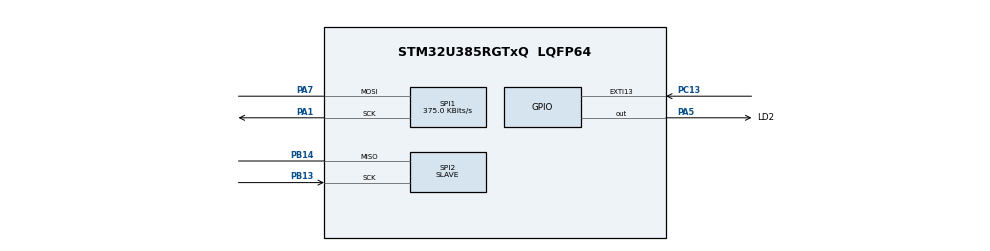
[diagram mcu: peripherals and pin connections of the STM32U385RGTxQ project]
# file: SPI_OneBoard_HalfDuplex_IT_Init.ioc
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CORTEX_M33_NS.userName=CORTEX_M33
Mcu.Family=STM32U3
Mcu.Name=STM32U385RGTxQ
Mcu.Package=LQFP64
NVIC.EXTI13_IRQn=true\:0\:0\:false\:false\:true\:true\:true\:true
NVIC.PriorityGroup=NVIC_PRIORITYGROUP_4
NVIC.SPI1_IRQn=true\:1\:0\:false\:false\:true\:true\:true\:true
NVIC.SPI2_IRQn=true\:1\:0\:false\:false\:true\:true\:true\:true
PA1.GPIO_PuPd=GPIO_PULLDOWN
PA1.GPIO_Speed=GPIO_SPEED_FREQ_HIGH
PA1.Mode=Simplex_Bidirectional_Master
PA1.Signal=SPI1_SCK
PA5.GPIO_Label=LD2
PA5.Signal=GPIO_Output
PA7.GPIO_PuPd=GPIO_PULLUP
PA7.GPIO_Speed=GPIO_SPEED_FREQ_HIGH
PA7.Mode=Simplex_Bidirectional_Master
PA7.Signal=SPI1_MOSI
PB13.GPIO_PuPd=GPIO_PULLDOWN
PB13.GPIO_Speed=GPIO_SPEED_FREQ_HIGH
PB13.Mode=Simplex_Bidirectional_Slave
PB13.Signal=SPI2_SCK
PB14.GPIO_PuPd=GPIO_PULLUP
PB14.GPIO_Speed=GPIO_SPEED_FREQ_HIGH
PB14.Mode=Simplex_Bidirectional_Slave
PB14.Signal=SPI2_MISO
PC13.GPIO_ModeDefaultEXTI=GPIO_MODE_IT_RISING
PC13.Signal=GPXTI13
ProjectManager.HeapSize=0x200
ProjectManager.StackSize=0x400
ProjectManager.TargetToolchain=EWARM V9.20
RCC.ADCFreq_Value=96000000
RCC.AHBFreq_Value=96000000
RCC.APB1Freq_Value=96000000
RCC.APB1TimFreq_Value=96000000
RCC.APB2Freq_Value=96000000
RCC.APB2TimFreq_Value=96000000
RCC.APB3Freq_Value=96000000
RCC.CortexFreq_Value=12000000
RCC.HCLKFreq_Value=96000000
RCC.HSE_VALUE=16000000
RCC.HSI48_VALUE=48000000
RCC.HSI_VALUE=16000000
RCC.LSE_VALUE=32768
RCC.LSIDIV_VALUE=32000
RCC.MSISDIV=RCC_MSI_DIV1
RCC.MSI_VALUE=96000000
RCC.PWR_Regulator_Voltage_Scale=PWR_REGULATOR_VOLTAGE_SCALE1
RCC.SYSCLKFreq_VALUE=96000000
RCC.USBFreq_Value=96000000
SPI1.BaudRatePrescaler=SPI_BAUDRATEPRESCALER_256
SPI1.CLKPhase=SPI_PHASE_2EDGE
SPI1.CLKPolarity=SPI_POLARITY_HIGH
SPI1.CRCCalculation=SPI_CRCCALCULATION_DISABLE
SPI1.CalculateBaudRate=375.0 KBits/s
SPI1.DataSize=SPI_DATASIZE_8BIT
SPI1.Direction=SPI_DIRECTION_1LINE
SPI1.FifoThreshold=SPI_FIFO_THRESHOLD_05DATA
SPI1.FirstBit=SPI_FIRSTBIT_MSB
SPI1.Mode=SPI_MODE_MASTER
SPI1.NSS=SPI_NSS_SOFT
SPI1.TIMode=SPI_TIMODE_DISABLE
SPI1.VirtualType=VM_MASTER
SPI2.CLKPhase=SPI_PHASE_2EDGE
SPI2.CLKPolarity=SPI_POLARITY_HIGH
SPI2.CRCCalculation=SPI_CRCCALCULATION_DISABLE
SPI2.DataSize=SPI_DATASIZE_8BIT
SPI2.Direction=SPI_DIRECTION_1LINE
SPI2.FifoThreshold=SPI_FIFO_THRESHOLD_05DATA
SPI2.FirstBit=SPI_FIRSTBIT_MSB
SPI2.Mode=SPI_MODE_SLAVE
SPI2.NSS=SPI_NSS_SOFT
SPI2.TIMode=SPI_TIMODE_DISABLE
SPI2.VirtualType=VM_SLAVE
VP_ICACHE_VS_ICACHE.Mode=DirectMappedCache
VP_PWR_VS_DBSignals.Mode=DisableDeadBatterySignals
VP_PWR_VS_LPOM.Mode=PowerOptimisation
VP_PWR_VS_SECSignals.Mode=Security/Privilege
board=custom

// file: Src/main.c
/* USER CODE BEGIN Header */
/**
  ******************************************************************************
  * @file    Examples_LL/SPI/SPI_OneBoard_HalfDuplex_IT_Init/Src/main.c
  * @author  MCD Application Team
  * @brief   This example describes how to send/receive bytes over SPI IP using
  *          the STM32U3xx SPI LL API.
  *          Peripheral initialization done using LL unitary services functions.
  ******************************************************************************
  * @attention
  *
  * Copyright (c) 2024 STMicroelectronics.
  * All rights reserved.
  *
  * This software is licensed under terms that can be found in the LICENSE file
  * in the root directory of this software component.
  * If no LICENSE file comes with this software, it is provided AS-IS.
  *
  ******************************************************************************
  */
/* USER CODE END Header */
#include "main.h"

/* USER CODE BEGIN PV */

__IO uint8_t ubButtonPress = 0;

/* Buffer used for transmission */
uint8_t aTxBuffer[] = "**** SPI_OneBoard_HalfDuplex_IT_Init communication **** SPI_OneBoard_HalfDuplex_IT_Init communication **** SPI_OneBoard_HalfDuplex_IT_Init communication ****";

uint8_t ubNbDataToTransmit = sizeof(aTxBuffer);
__IO uint8_t ubTransmitIndex = 0;

/* Buffer used for reception */
uint8_t aRxBuffer[sizeof(aTxBuffer)];
uint8_t ubNbDataToReceive = sizeof(aTxBuffer);
__IO uint8_t ubReceiveIndex = 0;

/* USER CODE END PV */

void SystemClock_Config(void);
static void MX_GPIO_Init(void);
static void MX_ICACHE_Init(void);
static void MX_SPI1_Init(void);
static void MX_SPI2_Init(void);
/* USER CODE BEGIN PFP */
void     Activate_SPI1(void);
void     Activate_SPI2(void);
void     LED_On(void);
void     LED_Blinking(uint32_t Period);
void     LED_Off(void);
void     WaitForUserButtonPress(void);
void     WaitAndCheckEndOfTransfer(void);
uint8_t  Buffercmp8(uint8_t *pBuffer1, uint8_t *pBuffer2, uint8_t BufferLength);

/* USER CODE END PFP */

int main(void)
{

  /* MCU Configuration--------------------------------------------------------*/

  /* Reset of all peripherals, Initializes the Flash interface and the Systick. */

  /* System interrupt init*/
  NVIC_SetPriorityGrouping(NVIC_PRIORITYGROUP_4);

  /* Configure the system clock */
  SystemClock_Config();

  /* Initialize all configured peripherals */
  MX_GPIO_Init();
  MX_ICACHE_Init();
  MX_SPI1_Init();
  MX_SPI2_Init();
  /* USER CODE BEGIN 2 */
  /* Configure the SPI2 FIFO Threshold */
  LL_SPI_SetFIFOThreshold(SPI1,LL_SPI_FIFO_TH_16DATA);

  /* Configure SPI1 transfer interrupts */
  /* Enable TXP   Interrupt */
  LL_SPI_EnableIT_TXP(SPI1);
  /* Enable SPI1 Error Interrupt */
  LL_SPI_EnableIT_CRCERR(SPI1);

  /* Configure SPI2 transfer interrupts */
  /* Enable RXP  Interrupt */
  LL_SPI_EnableIT_RXP(SPI2);
  /* Enable SPI2 Error Interrupt */
  LL_SPI_EnableIT_CRCERR(SPI2);

  /* Enable the SPI1 peripheral */
  Activate_SPI1();

  /* Enable the SPI2 peripheral */
  Activate_SPI2();

  /* Wait for User push-button press to start transfer */
  WaitForUserButtonPress();

  /* Start Master transfer */
  LL_SPI_StartMasterTransfer(SPI1);

  /* Wait for the end of the transfer and check received data */
  /* LED blinking FAST during waiting time */
  WaitAndCheckEndOfTransfer();

  /* USER CODE END 2 */

  /* Infinite loop */
  while (1)
  {

  }
}

void SystemClock_Config(void)
{
  /** Enable Epod Booster
  */
  LL_AHB1_GRP2_EnableClock(LL_AHB1_GRP2_PERIPH_PWR);
  LL_RCC_SetEPODBoosterClkSource(LL_RCC_EPODBOOSTCLKSRCE_MSIS);
  LL_RCC_SetEPODBoosterClkPrescaler(LL_RCC_EPODBOOSTCLKPRESCAL_1);
  LL_PWR_EnableEPODBooster();
  while(LL_PWR_IsActiveFlag_BOOST() != 1U)
  {
  }

  /** Configure the main internal regulator output voltage
  */
  LL_PWR_SetRegulVoltageScaling(LL_PWR_REGU_VOLTAGE_SCALE1);
  while(LL_PWR_GetRegulCurrentVOS() != LL_PWR_REGU_VOLTAGE_SCALE1)
  {
  }

  /** Set Flash latency before switching to MSIS
  */
  LL_FLASH_SetLatency(LL_FLASH_LATENCY_2);
  while(LL_FLASH_GetLatency() != LL_FLASH_LATENCY_2)
  {
  }

  /** Activate MSIS as source
  */
  LL_RCC_MSIS_SetClockSource(LL_RCC_MSIS_CLOCK_SOURCE_RC0);
  LL_RCC_MSIS_SetClockDivision(LL_RCC_MSIS_CLOCK_SOURCE_RC_DIV_1);
  LL_RCC_MSI_SetMSIxClockRange();
  LL_RCC_SetSysClkSource(LL_RCC_SYS_CLKSOURCE_MSIS);

  /** Wait till System clock is ready
  */
  while(LL_RCC_GetSysClkSource() != LL_RCC_SYS_CLKSOURCE_MSIS)
  {
  }

  LL_RCC_SetAHBPrescaler(LL_RCC_HCLK_SYSCLK_DIV_1);
  LL_RCC_SetAPB1Prescaler(LL_RCC_APB1_HCLK_DIV_1);
  LL_RCC_SetAPB2Prescaler(LL_RCC_APB2_HCLK_DIV_1);
  LL_RCC_SetAPB3Prescaler(LL_RCC_APB3_HCLK_DIV_1);

  LL_Init1msTick(96000000);

  LL_SetSystemCoreClock(96000000);
}

static void MX_ICACHE_Init(void)
{

  /** Enable instruction cache in 1-way (direct mapped cache)
  */
  LL_ICACHE_SetMode(LL_ICACHE_1WAY);
  LL_ICACHE_Enable();

}

static void MX_SPI1_Init(void)
{

  LL_SPI_InitTypeDef SPI_InitStruct = {0};

  LL_GPIO_InitTypeDef GPIO_InitStruct = {0};

  LL_RCC_SetSPIClockSource(LL_RCC_SPI1_CLKSOURCE_PCLK2);

  /* Peripheral clock enable */
  LL_APB2_GRP1_EnableClock(LL_APB2_GRP1_PERIPH_SPI1);

  LL_AHB2_GRP1_EnableClock(LL_AHB2_GRP1_PERIPH_GPIOA);
  /**SPI1 GPIO Configuration
  PA1   ------> SPI1_SCK
  PA7   ------> SPI1_MOSI
  */
  GPIO_InitStruct.Pin = LL_GPIO_PIN_1;
  GPIO_InitStruct.Mode = LL_GPIO_MODE_ALTERNATE;
  GPIO_InitStruct.Speed = LL_GPIO_SPEED_FREQ_HIGH;
  GPIO_InitStruct.OutputType = LL_GPIO_OUTPUT_PUSHPULL;
  GPIO_InitStruct.Pull = LL_GPIO_PULL_DOWN;
  GPIO_InitStruct.Alternate = LL_GPIO_AF_5;
  LL_GPIO_Init(GPIOA, &GPIO_InitStruct);

  GPIO_InitStruct.Pin = LL_GPIO_PIN_7;
  GPIO_InitStruct.Mode = LL_GPIO_MODE_ALTERNATE;
  GPIO_InitStruct.Speed = LL_GPIO_SPEED_FREQ_HIGH;
  GPIO_InitStruct.OutputType = LL_GPIO_OUTPUT_PUSHPULL;
  GPIO_InitStruct.Pull = LL_GPIO_PULL_UP;
  GPIO_InitStruct.Alternate = LL_GPIO_AF_5;
  LL_GPIO_Init(GPIOA, &GPIO_InitStruct);

  /* SPI1 interrupt Init */
  NVIC_SetPriority(SPI1_IRQn, NVIC_EncodePriority(NVIC_GetPriorityGrouping(),1, 0));
  NVIC_EnableIRQ(SPI1_IRQn);

  /* SPI1 parameter configuration*/
  SPI_InitStruct.TransferDirection = LL_SPI_HALF_DUPLEX_TX;
  SPI_InitStruct.Mode = LL_SPI_MODE_MASTER;
  SPI_InitStruct.DataWidth = LL_SPI_DATAWIDTH_8BIT;
  SPI_InitStruct.ClockPolarity = LL_SPI_POLARITY_HIGH;
  SPI_InitStruct.ClockPhase = LL_SPI_PHASE_2EDGE;
  SPI_InitStruct.NSS = LL_SPI_NSS_SOFT;
  SPI_InitStruct.BaudRate = LL_SPI_BAUDRATEPRESCALER_DIV256;
  SPI_InitStruct.BitOrder = LL_SPI_MSB_FIRST;
  SPI_InitStruct.CRCCalculation = LL_SPI_CRCCALCULATION_DISABLE;
  SPI_InitStruct.CRCPoly = 0x7;
  LL_SPI_Init(SPI1, &SPI_InitStruct);
  LL_SPI_SetStandard(SPI1, LL_SPI_PROTOCOL_MOTOROLA);
  LL_SPI_DisableNSSPulseMgt(SPI1);

}

static void MX_SPI2_Init(void)
{

  LL_SPI_InitTypeDef SPI_InitStruct = {0};

  LL_GPIO_InitTypeDef GPIO_InitStruct = {0};

  LL_RCC_SetSPIClockSource(LL_RCC_SPI2_CLKSOURCE_PCLK1);

  /* Peripheral clock enable */
  LL_APB1_GRP1_EnableClock(LL_APB1_GRP1_PERIPH_SPI2);

  LL_AHB2_GRP1_EnableClock(LL_AHB2_GRP1_PERIPH_GPIOB);
  /**SPI2 GPIO Configuration
  PB13   ------> SPI2_SCK
  PB14   ------> SPI2_MISO
  */
  GPIO_InitStruct.Pin = LL_GPIO_PIN_13;
  GPIO_InitStruct.Mode = LL_GPIO_MODE_ALTERNATE;
  GPIO_InitStruct.Speed = LL_GPIO_SPEED_FREQ_HIGH;
  GPIO_InitStruct.OutputType = LL_GPIO_OUTPUT_PUSHPULL;
  GPIO_InitStruct.Pull = LL_GPIO_PULL_DOWN;
  GPIO_InitStruct.Alternate = LL_GPIO_AF_5;
  LL_GPIO_Init(GPIOB, &GPIO_InitStruct);

  GPIO_InitStruct.Pin = LL_GPIO_PIN_14;
  GPIO_InitStruct.Mode = LL_GPIO_MODE_ALTERNATE;
  GPIO_InitStruct.Speed = LL_GPIO_SPEED_FREQ_HIGH;
  GPIO_InitStruct.OutputType = LL_GPIO_OUTPUT_PUSHPULL;
  GPIO_InitStruct.Pull = LL_GPIO_PULL_UP;
  GPIO_InitStruct.Alternate = LL_GPIO_AF_5;
  LL_GPIO_Init(GPIOB, &GPIO_InitStruct);

  /* SPI2 interrupt Init */
  NVIC_SetPriority(SPI2_IRQn, NVIC_EncodePriority(NVIC_GetPriorityGrouping(),1, 0));
  NVIC_EnableIRQ(SPI2_IRQn);

  /* SPI2 parameter configuration*/
  SPI_InitStruct.TransferDirection = LL_SPI_HALF_DUPLEX_RX;
  SPI_InitStruct.Mode = LL_SPI_MODE_SLAVE;
  SPI_InitStruct.DataWidth = LL_SPI_DATAWIDTH_8BIT;
  SPI_InitStruct.ClockPolarity = LL_SPI_POLARITY_HIGH;
  SPI_InitStruct.ClockPhase = LL_SPI_PHASE_2EDGE;
  SPI_InitStruct.NSS = LL_SPI_NSS_SOFT;
  SPI_InitStruct.BitOrder = LL_SPI_MSB_FIRST;
  SPI_InitStruct.CRCCalculation = LL_SPI_CRCCALCULATION_DISABLE;
  SPI_InitStruct.CRCPoly = 0x7;
  LL_SPI_Init(SPI2, &SPI_InitStruct);
  LL_SPI_SetStandard(SPI2, LL_SPI_PROTOCOL_MOTOROLA);
  LL_SPI_DisableNSSPulseMgt(SPI2);

}

static void MX_GPIO_Init(void)
{
  LL_EXTI_InitTypeDef EXTI_InitStruct = {0};
  LL_GPIO_InitTypeDef GPIO_InitStruct = {0};

  /* GPIO Ports Clock Enable */
  LL_AHB2_GRP1_EnableClock(LL_AHB2_GRP1_PERIPH_GPIOC);
  LL_AHB2_GRP1_EnableClock(LL_AHB2_GRP1_PERIPH_GPIOA);
  LL_AHB2_GRP1_EnableClock(LL_AHB2_GRP1_PERIPH_GPIOB);

  /**/
  LL_GPIO_ResetOutputPin(LD2_GPIO_Port, LD2_Pin);

  /**/
  LL_EXTI_SetEXTISource(LL_EXTI_CONFIG_PORTC, LL_EXTI_CONFIG_LINE13);

  /**/
  EXTI_InitStruct.Line_0_31 = LL_EXTI_LINE_13;
  EXTI_InitStruct.LineCommand = ENABLE;
  EXTI_InitStruct.Mode = LL_EXTI_MODE_IT;
  EXTI_InitStruct.Trigger = LL_EXTI_TRIGGER_RISING;
  LL_EXTI_Init(&EXTI_InitStruct);

  /**/
  LL_GPIO_SetPinPull(GPIOC, LL_GPIO_PIN_13, LL_GPIO_PULL_NO);

  /**/
  LL_GPIO_SetPinMode(GPIOC, LL_GPIO_PIN_13, LL_GPIO_MODE_INPUT);

  /**/
  GPIO_InitStruct.Pin = LD2_Pin;
  GPIO_InitStruct.Mode = LL_GPIO_MODE_OUTPUT;
  GPIO_InitStruct.Speed = LL_GPIO_SPEED_FREQ_LOW;
  GPIO_InitStruct.OutputType = LL_GPIO_OUTPUT_PUSHPULL;
  GPIO_InitStruct.Pull = LL_GPIO_PULL_NO;
  LL_GPIO_Init(LD2_GPIO_Port, &GPIO_InitStruct);

  /* EXTI interrupt init*/
  NVIC_SetPriority(EXTI13_IRQn, NVIC_EncodePriority(NVIC_GetPriorityGrouping(),0, 0));
  NVIC_EnableIRQ(EXTI13_IRQn);

}

/* USER CODE BEGIN 4 */

/**
  * @brief  This function Activate SPI1
  * @param  None
  * @retval None
  */
void Activate_SPI1(void)
{
  /* Enable SPI1 */
  LL_SPI_Enable(SPI1);
}

/**
  * @brief  This function Activate SPI2
  * @param  None
  * @retval None
  */
void Activate_SPI2(void)
{
  /* Enable SPI2 */
  LL_SPI_Enable(SPI2);
}

/**
  * @brief  Turn-on LD2.
  * @param  None
  * @retval None
  */
void LED_On(void)
{
  /* Turn LD2 on */
  LL_GPIO_SetOutputPin(LD2_GPIO_Port, LD2_Pin);
}

/**
  * @brief  Turn-off LD2.
  * @param  None
  * @retval None
  */
void LED_Off(void)
{
  /* Turn LD2 off */
  LL_GPIO_ResetOutputPin(LD2_GPIO_Port, LD2_Pin);
}

/**
  * @brief  Set LD2 to Blinking mode for an infinite loop (toggle period based on value provided as input parameter).
  * @param  Period : Period of time (in ms) between each toggling of LED
  *   This parameter can be user defined values. Pre-defined values used in that example are :
  *     @arg LED_BLINK_FAST : Fast Blinking
  *     @arg LED_BLINK_SLOW : Slow Blinking
  *     @arg LED_BLINK_ERROR : Error specific Blinking
  * @retval None
  */
void LED_Blinking(uint32_t Period)
{
  /* Toggle LD2 in an infinite loop */
  while (1)
  {
    LL_GPIO_TogglePin(LD2_GPIO_Port, LD2_Pin);
    LL_mDelay(Period);
  }
}

/**
  * @brief  Wait for User push-button press to start transfer.
  * @param  None
  * @retval None
  */
/*  */
void WaitForUserButtonPress(void)
{
  while (ubButtonPress == 0)
  {
    LL_GPIO_TogglePin(LD2_GPIO_Port, LD2_Pin);
    LL_mDelay(LED_BLINK_FAST);
  }
  /* Ensure that LD2 is turned Off */
  LED_Off();
}

/**
  * @brief  Wait end of transfer and check if received Data are well.
  * @param  None
  * @retval None
  */
void WaitAndCheckEndOfTransfer(void)
{
  /* 1 - Wait end of transmission */
  while (ubTransmitIndex != ubNbDataToTransmit)
  {
  }
  /* Disable TXP Interrupt */
  LL_SPI_DisableIT_TXP(SPI1);

  /* 2 - Wait end of reception */
  while (ubNbDataToReceive > ubReceiveIndex)
  {
  }
  /* Disable RXP Interrupt */
  LL_SPI_DisableIT_RXP(SPI2);

  /* 3 - Compare Transmit data to receive data */
  if (Buffercmp8((uint8_t *)aTxBuffer, (uint8_t *)aRxBuffer, ubNbDataToTransmit))
  {
    /* Processing Error */
    LED_Blinking(LED_BLINK_ERROR);
  }
  else
  {
    /* Turn On Led if data are well received */
    LED_On();
  }
}

/**
* @brief Compares two 8-bit buffers and returns the comparison result.
* @param pBuffer1: pointer to the source buffer to be compared to.
* @param pBuffer2: pointer to the second source buffer to be compared to the first.
* @param BufferLength: buffer's length.
* @retval   0: Comparison is OK (the two Buffers are identical)
*           Value different from 0: Comparison is NOK (Buffers are different)
*/
uint8_t Buffercmp8(uint8_t *pBuffer1, uint8_t *pBuffer2, uint8_t BufferLength)
{
  while (BufferLength--)
  {
    if (*pBuffer1 != *pBuffer2)
    {
      return 1;
    }

    pBuffer1++;
    pBuffer2++;
  }

  return 0;
}

/******************************************************************************/
/*   USER IRQ HANDLER TREATMENT Functions                                     */
/******************************************************************************/
/**
  * @brief  Function to manage User push-button
  * @param  None
  * @retval None
  */
void UserButton_Callback(void)
{
  /* Update User push-button variable : to be checked in waiting loop in main program */
  ubButtonPress = 1;
}

/**
  * @brief  Function called from SPI1 IRQ Handler when TXP flag is set
  *         Function is in charge  to transmit byte on SPI lines.
  * @param  None
  * @retval None
  */
void  SPI1_Tx_Callback(void)
{
  /* Write character in Data register.
  TXP flag is cleared by reading data in DR register */
  LL_SPI_TransmitData8(SPI1, aTxBuffer[ubTransmitIndex++]);
}

/**
  * @brief  Function called from SPI2 IRQ Handler when RXP flag is set
  *         Function is in charge of retrieving received byte from SPI lines.
  * @param  None
  * @retval None
  */
void  SPI2_Rx_Callback(void)
{
  /* Read character in Data register.
  RXP flag is cleared by reading data in DR register */
  aRxBuffer[ubReceiveIndex++] = LL_SPI_ReceiveData8(SPI2);
}

/**
  * @brief  Function called in case of error detected in SPI IT Handler
  * @param  None
  * @retval None
  */
void SPI_TransferError_Callback(void)
{
  /* Disable TXP   Interrupt             */
  LL_SPI_DisableIT_TXP(SPI1);

  /* Disable RXP  Interrupt             */
  LL_SPI_DisableIT_RXP(SPI2);

  /* Set LD2 to Blinking mode to indicate error occurs */
  LED_Blinking(LED_BLINK_ERROR);
}

/* USER CODE END 4 */

void Error_Handler(void)
{
}
